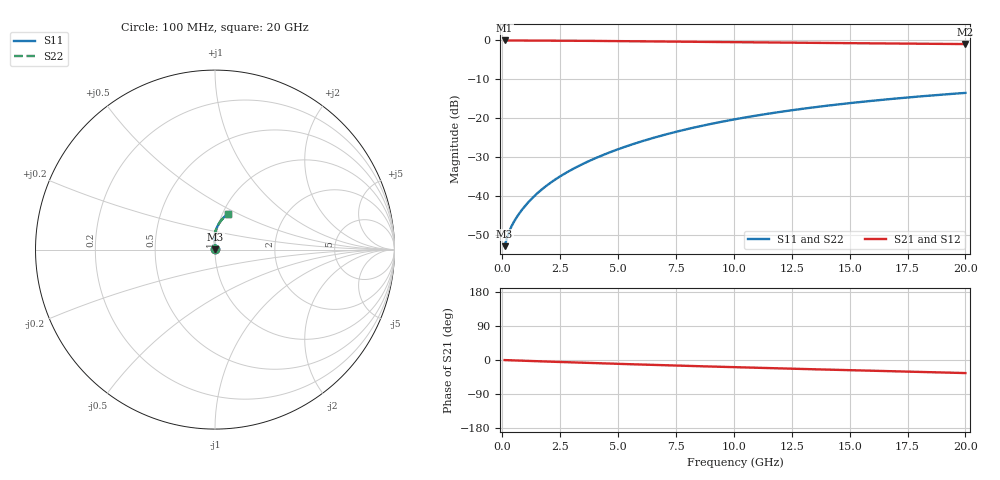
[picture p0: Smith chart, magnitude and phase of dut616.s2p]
! Touchstone file exported from HFSS 2024.1.0
!  File:  C:/UserFiles/LocalFiles/RDL_TSV_Batchsim/temp_RDL_bottom_616_1779783899.aedt
!  Generated:  04:27:07 PM May 26, 2026
!  Design:  RDL_bottom
!  Project:  temp_RDL_bottom_616_1779783899
!  Setup:  Setup1
!  Solution:  Sweep
! Variables:
!  dtsv = 10.80580581um
!  hbump = 3um
!  htsv = 83.17um
!  ldown = 577.48um
!  lrdl = 100um
!  p = 40
!  p1 = 40.49um
!  rhole = 1um
!  t = 450um
!  tdown = 4.14um
!  trdl = 3.915915916um
!  wdown = 27.06um
!  wrdl = 20um
# GHz S MA R 50.000000
! Terminal data exported
! Port[1] = RDL1_T1
! Port[2] = RDL1_T2
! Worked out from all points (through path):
!   200 points, 100 MHz to 20 GHz, reference 50 ohm
!   highest |S21| = -0.02 dB at 100 MHz (marker M1); lowest = -0.9 dB at 20 GHz (marker M2)
!   group delay of S21, straight-line fit = 4.71 ps
!   lowest |S11| = -52.7 dB at 100 MHz (marker M3), VSWR 1.00, Z = 50.2 + j0.0993 ohm
!   |S11| at or under -10 dB: start of sweep to end of sweep
!   |S22| runs from -52.7 to -13.5 dB; largest |S21 - S12| = 3.5e-15
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0.1  0.002307 25.4  0.9979 -0.2  0.9979 -0.2  0.002307 25.4
! Gamma 0 0 0 0
! Port Impedance 50 0 50 0
0.2  0.002935 39.0  0.9977 -0.5  0.9977 -0.5  0.002935 39.0
0.3  0.003569 46.3  0.9974 -0.7  0.9974 -0.7  0.003569 46.3
0.4  0.004158 51.5  0.9972 -0.9  0.9972 -0.9  0.004158 51.4
0.5  0.004725 55.7  0.997 -1.1  0.997 -1.1  0.004725 55.7
0.8  0.006445 65.3  0.9966 -1.7  0.9966 -1.7  0.006445 65.3
1  0.007655 70.0  0.9962 -2.1  0.9962 -2.1  0.007655 70.0
1.2  0.008916 73.7  0.9958 -2.5  0.9958 -2.5  0.008915 73.7
1.7  0.01226 80.3  0.9946 -3.6  0.9946 -3.6  0.01226 80.2
2.2  0.01585 84.6  0.993 -4.6  0.993 -4.6  0.01585 84.5
2.8  0.02047 88.1  0.9906 -5.8  0.9906 -5.8  0.02047 88.0
3.5  0.02629 90.7  0.9874 -7.2  0.9874 -7.2  0.02629 90.7
4.2  0.03258 92.4  0.9837 -8.6  0.9837 -8.6  0.03256 92.4
5  0.04029 93.4  0.9791 -10.1  0.9791 -10.1  0.04027 93.4
5.9  0.04957 93.7  0.9737 -11.8  0.9737 -11.8  0.04955 93.6
6.8  0.05939 93.3  0.9681 -13.4  0.9681 -13.4  0.05936 93.3
8.4  0.07782 91.6  0.9582 -16.2  0.9582 -16.2  0.07777 91.6
10.1  0.09819 89.0  0.948 -19.1  0.948 -19.1  0.09811 88.9
11.7  0.1176 86.1  0.9389 -21.7  0.9389 -21.7  0.1175 86.0
13.4  0.1381 82.8  0.9296 -24.4  0.9296 -24.4  0.138 82.8
16.7  0.1765 76.4  0.9128 -29.5  0.9128 -29.5  0.1763 76.3
20  0.2124 70.2  0.897 -34.5  0.897 -34.5  0.2122 70.1
